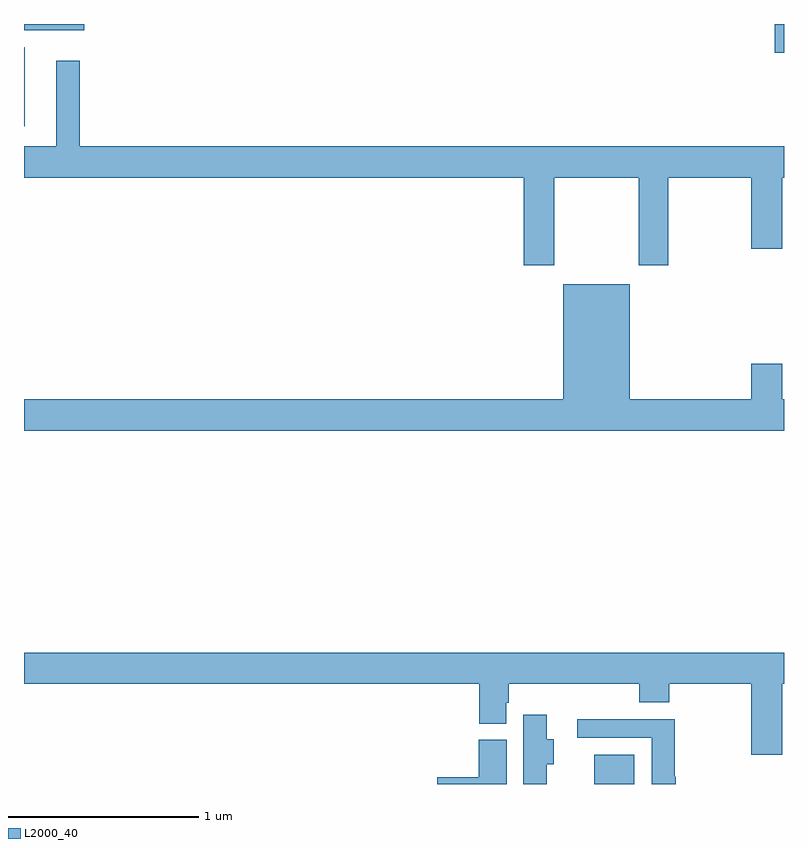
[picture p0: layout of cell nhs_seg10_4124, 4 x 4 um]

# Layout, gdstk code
import gdstk
lib = gdstk.Library(unit=1e-6, precision=1e-09)
def R(c, l, rs):  # rectangles x0, y0, x1, y1
    for r in rs: c.add(gdstk.rectangle(r[:2], r[2:], *l))
def P(c, l, *ps):  # polygons
    for p in ps: c.add(gdstk.Polygon(p, *l))
L2000_40 = (2000, 40)

nhs_seg10_4124 = lib.new_cell('nhs_seg10_4124')
R(nhs_seg10_4124, L2000_40, [(344,1254.5,344.212,1254.655), (341,1257.963,341.005,1258.378), (344.952,1258.349,345,1258.5), (341,1258.466,341.317,1258.5)])
P(nhs_seg10_4124, L2000_40, [(343.791,1257.692),(344.236,1257.692),(344.236,1257.231),(344.391,1257.231),(344.391,1257.692),(344.828,1257.692),(344.828,1257.318),(344.992,1257.318),(344.992,1257.692),(345,1257.692),(345,1257.856),(341.293,1257.856),(341.293,1258.306),(341.171,1258.306),(341.171,1257.856),(341,1257.856),(341,1257.692),(343.631,1257.692),(343.631,1257.231),(343.791,1257.231)],
  [(345,1256.524),(344.992,1256.524),(344.992,1256.713),(344.828,1256.713),(344.828,1256.524),(344.188,1256.524),(344.188,1257.13),(343.838,1257.13),(343.838,1256.524),(341,1256.524),(341,1256.36),(345,1256.36)],
  [(344.992,1255.028),(345,1255.028),(345,1255.192),(341,1255.192),(341,1255.028),(343.397,1255.028),(343.397,1254.817),(343.537,1254.817),(343.537,1254.927),(343.55,1254.927),(343.55,1255.028),(344.237,1255.028),(344.237,1254.929),(344.397,1254.929),(344.397,1255.028),(344.828,1255.028),(344.828,1254.654),(344.992,1254.654)],
  [(343.75,1254.605),(343.789,1254.605),(343.789,1254.735),(343.75,1254.735),(343.75,1254.865),(343.628,1254.865),(343.628,1254.5),(343.75,1254.5)],
  [(344.429,1254.537),(344.424,1254.537),(344.424,1254.842),(343.911,1254.842),(343.911,1254.744),(344.303,1254.744),(344.303,1254.5),(344.429,1254.5)],
  [(343.54,1254.732),(343.394,1254.732),(343.394,1254.536),(343.176,1254.536),(343.176,1254.5),(343.54,1254.5)])

lib.write_gds('nhs_seg10_4124.gds')
